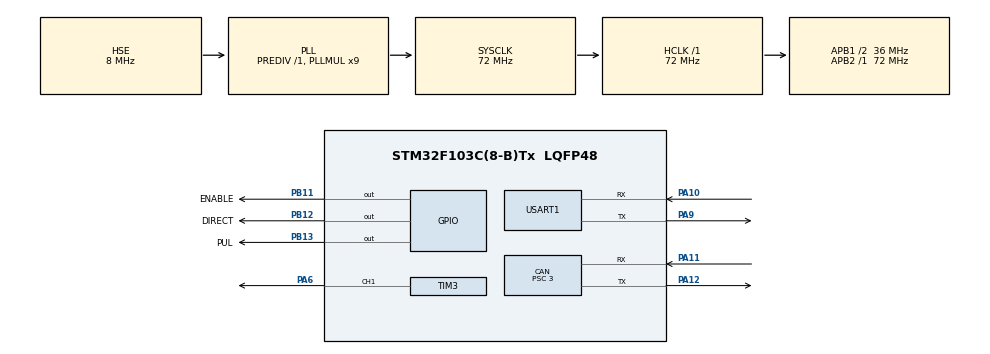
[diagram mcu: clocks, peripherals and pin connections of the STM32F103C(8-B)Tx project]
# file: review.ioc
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CAN.ABOM=ENABLE
CAN.BS1=CAN_BS1_10TQ
CAN.CalculateBaudRate=999999
CAN.CalculateTimeBit=1000
CAN.CalculateTimeQuantum=83.33333333333334
CAN.Prescaler=3
Dma.Request0=USART1_RX
Dma.Request1=USART1_TX
Dma.USART1_RX.0.Direction=DMA_PERIPH_TO_MEMORY
Dma.USART1_RX.0.Instance=DMA1_Channel5
Dma.USART1_RX.0.MemDataAlignment=DMA_MDATAALIGN_BYTE
Dma.USART1_RX.0.MemInc=DMA_MINC_ENABLE
Dma.USART1_RX.0.Mode=DMA_NORMAL
Dma.USART1_RX.0.PeriphDataAlignment=DMA_PDATAALIGN_BYTE
Dma.USART1_RX.0.PeriphInc=DMA_PINC_DISABLE
Dma.USART1_RX.0.Priority=DMA_PRIORITY_LOW
Dma.USART1_TX.1.Direction=DMA_MEMORY_TO_PERIPH
Dma.USART1_TX.1.Instance=DMA1_Channel4
Dma.USART1_TX.1.MemDataAlignment=DMA_MDATAALIGN_BYTE
Dma.USART1_TX.1.MemInc=DMA_MINC_ENABLE
Dma.USART1_TX.1.Mode=DMA_NORMAL
Dma.USART1_TX.1.PeriphDataAlignment=DMA_PDATAALIGN_BYTE
Dma.USART1_TX.1.PeriphInc=DMA_PINC_DISABLE
Dma.USART1_TX.1.Priority=DMA_PRIORITY_LOW
Mcu.Family=STM32F1
Mcu.Name=STM32F103C(8-B)Tx
Mcu.Package=LQFP48
NVIC.DMA1_Channel4_IRQn=true\:0\:0\:false\:false\:true\:false\:true\:true
NVIC.DMA1_Channel5_IRQn=true\:0\:0\:false\:false\:true\:false\:true\:true
NVIC.PriorityGroup=NVIC_PRIORITYGROUP_4
NVIC.TIM2_IRQn=true\:0\:0\:false\:false\:true\:true\:true\:true
NVIC.USART1_IRQn=true\:0\:0\:false\:false\:true\:true\:true\:true
NVIC.USB_LP_CAN1_RX0_IRQn=true\:0\:0\:false\:false\:true\:true\:true\:true
PA10.Mode=Asynchronous
PA10.Signal=USART1_RX
PA11.Mode=CAN_Activate
PA11.Signal=CAN_RX
PA12.Mode=CAN_Activate
PA12.Signal=CAN_TX
PA13.Mode=Serial_Wire
PA13.Signal=SYS_JTMS-SWDIO
PA14.Mode=Serial_Wire
PA14.Signal=SYS_JTCK-SWCLK
PA6.Signal=S_TIM3_CH1
PA9.Mode=Asynchronous
PA9.Signal=USART1_TX
PB11.GPIO_Label=ENABLE
PB11.Signal=GPIO_Output
PB12.GPIO_Label=DIRECT
PB12.Signal=GPIO_Output
PB13.GPIO_Label=PUL
PB13.Signal=GPIO_Output
PD0-OSC_IN.Mode=HSE-External-Oscillator
PD0-OSC_IN.Signal=RCC_OSC_IN
PD1-OSC_OUT.Mode=HSE-External-Oscillator
PD1-OSC_OUT.Signal=RCC_OSC_OUT
ProjectManager.HeapSize=0x200
ProjectManager.StackSize=0x400
ProjectManager.TargetToolchain=MDK-ARM V5.32
RCC.AHBFreq_Value=72000000
RCC.APB1CLKDivider=RCC_HCLK_DIV2
RCC.APB1Freq_Value=36000000
RCC.APB1TimFreq_Value=72000000
RCC.APB2Freq_Value=72000000
RCC.APB2TimFreq_Value=72000000
RCC.HCLKFreq_Value=72000000
RCC.PLLMUL=RCC_PLL_MUL9
RCC.PLLSourceVirtual=RCC_PLLSOURCE_HSE
RCC.SYSCLKFreq_VALUE=72000000
RCC.SYSCLKSource=RCC_SYSCLKSOURCE_PLLCLK
RCC.USBFreq_Value=72000000
SH.S_TIM3_CH1.0=TIM3_CH1,PWM Generation1 CH1
TIM1.Prescaler=71
TIM2.Period=20-1
TIM2.Prescaler=7200-1
TIM3.Channel-PWM\ Generation1\ CH1=TIM_CHANNEL_1
TIM3.Period=10000-1
TIM3.Prescaler=72-1
USART1.VirtualMode=VM_ASYNC
VP_TIM1_VS_ClockSourceINT.Mode=Internal
VP_TIM2_VS_ClockSourceINT.Mode=Internal
VP_TIM3_VS_ClockSourceINT.Mode=Internal
board=custom

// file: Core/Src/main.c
/* USER CODE BEGIN Header */
/**
  ******************************************************************************
  * @file           : main.c
  * @brief          : Main program body
  ******************************************************************************
  * @attention
  *
  * Copyright (c) 2025 STMicroelectronics.
  * All rights reserved.
  *
  * This software is licensed under terms that can be found in the LICENSE file
  * in the root directory of this software component.
  * If no LICENSE file comes with this software, it is provided AS-IS.
  *
  ******************************************************************************
  */
/* USER CODE END Header */
#include "main.h"
#include "can.h"
#include "dma.h"
#include "tim.h"
#include "usart.h"
#include "gpio.h"

/* USER CODE BEGIN Includes */
#include "Delay_us.h"
#include "stdlib.h"
#include "string.h"
#include "ctype.h"
#include "motor.h"
#include "math.h"
#define pi 3.14159265358979323846264
#define THRESHOLD_ANGLE_RAD (10.0/180*pi)
/* USER CODE END Includes */

/* USER CODE BEGIN PV */
uint8_t receiveData[10];
double ref;
uint8_t receive_flag = '0';
 float current_pos;
 float last_angle=0;
/* USER CODE END PV */

void SystemClock_Config(void);

/* USER CODE BEGIN 0 */
void MiAngleControlOn(int angle){
    float target_res = angle / 180.0 * pi;
    current_pos = mi_motor[0].Angle/ 180.0 * pi; // 假设这是获取当前电机角度的方法

    // 计算当前位置与目标位置的绝对误差
    float error_abs = fabs(target_res - current_pos);
    if (error_abs > THRESHOLD_ANGLE_RAD) {
        // 远离目标时：启动慢，运动平缓
			while(error_abs > THRESHOLD_ANGLE_RAD){
				motor_controlmode(&mi_motor[0], 0, target_res, 0, 3.0, 1.8); // 较低的 kp 和 kd
				error_abs = fabs(target_res - mi_motor[0].Angle/ 180.0 * pi);
				HAL_Delay(1);
			}

    }

		if(error_abs <= THRESHOLD_ANGLE_RAD){
        // 接近目标时：加快收敛，提高末端速度和定位精度
       motor_controlmode(&mi_motor[0], 0, target_res, 0, 25.0, 25.0); // 较高的 kp 和 kd
			 last_angle=target_res;
    }
}

void MiAngleControlOff(int angle){
    float target_res = angle / 180.0 * pi;
    current_pos = mi_motor[0].Angle/ 180.0 * pi; // 假设这是获取当前电机角度的方法

    // 计算当前位置与目标位置的绝对误差
    float error_abs = fabs(target_res - current_pos);
    if (error_abs > THRESHOLD_ANGLE_RAD) {
        // 远离目标时：启动慢，运动平缓
			while(error_abs > THRESHOLD_ANGLE_RAD){
				motor_controlmode(&mi_motor[0], 0, target_res, 0, 3.0, 1.8); // 较低的 kp 和 kd
				error_abs = fabs(target_res - mi_motor[0].Angle/ 180.0 * pi);
				HAL_Delay(1);
			}

    }

		if(error_abs <= THRESHOLD_ANGLE_RAD){
        // 接近目标时：加快收敛，提高末端速度和定位精度
       motor_controlmode(&mi_motor[0], 0, target_res, 0, 25.0, 25.0); // 较高的 kp 和 kd
			 last_angle=target_res;
    }
}
void bujin(int dir,double posi,int fuzai){//0下，1�?,单位：cm
	dir=(dir==0);
	HAL_GPIO_WritePin(GPIOB,DIRECT_Pin,dir);//货架箱子提手高度42-43cm；铝管架离地高度大概�?44cm，算轨道
	posi=posi/(0.628*30)*2800*4;
	if(fuzai==1){//1表示有负载，0表示无负�?
	 for(int i=0;i<posi;++i){
	   HAL_GPIO_WritePin(GPIOB,PUL_Pin,0);
	    Delay_us(30);
	    HAL_GPIO_WritePin(GPIOB,PUL_Pin,1);
	    Delay_us(30);
	  }
	}else if(fuzai==0&&dir==0){
		for(int i=0;i<posi;++i){
			HAL_GPIO_WritePin(GPIOB,PUL_Pin,0);
	    Delay_us(25);
	    HAL_GPIO_WritePin(GPIOB,PUL_Pin,1);
	    Delay_us(25);
		}
	}else if(fuzai==0&&dir==1){
		for(int i=0;i<posi;++i){
			HAL_GPIO_WritePin(GPIOB,PUL_Pin,0);
	    Delay_us(25);
	    HAL_GPIO_WritePin(GPIOB,PUL_Pin,1);
	    Delay_us(25);
		}
	}
}
void get(double posi_cm){
	__HAL_TIM_SetCompare(&htim3,TIM_CHANNEL_1,1825);//打开�?
	HAL_Delay(500);
	bujin(0,posi_cm,0);//下降
  HAL_Delay(100);
  __HAL_TIM_SetCompare(&htim3,TIM_CHANNEL_1,1225);//收爪
  HAL_Delay(500);
  bujin(1,posi_cm,1);//上升
	HAL_Delay(10);
}
void place(double down_cm){
	bujin(0,down_cm,1);
  HAL_Delay(500);
  __HAL_TIM_SetCompare(&htim3,TIM_CHANNEL_1,1825);
  HAL_Delay(800);
	bujin(1,5,0);
	__HAL_TIM_SetCompare(&htim3,TIM_CHANNEL_1,1225);
	bujin(1,down_cm-5,0);
  HAL_Delay(10);
}

/* USER CODE END 0 */

int main(void)
{

  /* MCU Configuration--------------------------------------------------------*/

  /* Reset of all peripherals, Initializes the Flash interface and the Systick. */
  HAL_Init();

  /* Configure the system clock */
  SystemClock_Config();

  /* Initialize all configured peripherals */
  MX_GPIO_Init();
  MX_DMA_Init();
  MX_TIM1_Init();
  MX_TIM2_Init();
  MX_USART1_UART_Init();
  MX_CAN_Init();
  MX_TIM3_Init();
  /* USER CODE BEGIN 2 */
		CAN_FilterTypeDef can_filter_st;
	can_filter_st.FilterActivation = ENABLE;
	can_filter_st.FilterMode = CAN_FILTERMODE_IDMASK;
	can_filter_st.FilterScale = CAN_FILTERSCALE_32BIT;
	can_filter_st.FilterIdHigh = 0x0000;
	can_filter_st.FilterIdLow = 0x0000;
	can_filter_st.FilterMaskIdHigh = 0x0000;
	can_filter_st.FilterMaskIdLow = 0x0000;
	can_filter_st.FilterBank = 0;
	can_filter_st.FilterFIFOAssignment = CAN_RX_FIFO0;
	can_filter_st.SlaveStartFilterBank = 14;
	HAL_CAN_ConfigFilter(&hcan, &can_filter_st);
	HAL_CAN_Start(&hcan);
	HAL_CAN_ActivateNotification(&hcan, CAN_IT_RX_FIFO0_MSG_PENDING);

	HAL_TIM_Base_Start_IT(&htim2);//定时中断初始�?

	HAL_Delay(500);              //�?定时间延�? 等待电机初始化完�?
	init_cybergear(&mi_motor[0], 0x7F, Motion_mode);//小米电机 启动!
  set_zeropos_cybergear(&mi_motor[0]);
HAL_GPIO_WritePin(GPIOB,ENABLE_Pin,0);
HAL_TIM_Base_Init(&htim1);
HAL_TIM_Base_Init(&htim3);
HAL_TIM_Base_Start(&htim3);
HAL_TIM_PWM_Init(&htim3);
HAL_TIM_PWM_Start(&htim3,TIM_CHANNEL_1);
HAL_UARTEx_ReceiveToIdle_DMA(&huart1,receiveData,10);
__HAL_DMA_DISABLE_IT(&hdma_usart1_rx,DMA_IT_HT);
MiAngleControlOff(0);
HAL_Delay(5);
MiAngleControlOff(0);
  /* USER CODE END 2 */

  /* Infinite loop */
  /* USER CODE BEGIN WHILE */
	/**
		* @brief          小米运控模式指令
		* @param[in]      Motor:  目标电机结构使
		* @param[in]      torque: 力矩设置[-12,12] N*M
		* @param[in]      MechPosition: 位置设置[-12.5,12.5]rad				这里12.5昿4pi的近似忼，但我发现用近似忼控制转角好像更准确？？＿
		* @param[in]      speed: 速度设置[-30,30] rad/s
		* @param[in]      kp: 比例参数设置
		* @param[in]      kd: 微分参数设置
		* @retval         none
		*/

  while (1)
  {
		if(receive_flag=='s'){
			bujin(1,45,0);//启动
			HAL_UART_Transmit(&huart1,"1\r\n",3,0xff);
			receiveData[0] = '0';
			receive_flag='0';
		}else if(receive_flag=='g'){
			get(ref);
			HAL_UART_Transmit(&huart1,"1\r\n",3,0xff);
			receiveData[0]='0';
			receive_flag='0';
		}else if(receive_flag=='p'){
			place(ref);
			HAL_UART_Transmit(&huart1,"1\r\n",3,0xff);
			receiveData[0]='0';
			receive_flag='0';
		}else if(receive_flag=='n'){
			MiAngleControlOn(ref);
			receiveData[0]='0';
			receive_flag='0';
			HAL_UART_Transmit(&huart1,"1\r\n",3,0xff);
		}else if(receive_flag=='f'){
			MiAngleControlOff(ref);
			receiveData[0]='0';
			receive_flag='0';
			HAL_UART_Transmit(&huart1,"1\r\n",3,0xff);
		}

    /* USER CODE END WHILE */

  }
}

void SystemClock_Config(void)
{
  RCC_OscInitTypeDef RCC_OscInitStruct = {0};
  RCC_ClkInitTypeDef RCC_ClkInitStruct = {0};

  /** Initializes the RCC Oscillators according to the specified parameters
  * in the RCC_OscInitTypeDef structure.
  */
  RCC_OscInitStruct.OscillatorType = RCC_OSCILLATORTYPE_HSE;
  RCC_OscInitStruct.HSEState = RCC_HSE_ON;
  RCC_OscInitStruct.HSEPredivValue = RCC_HSE_PREDIV_DIV1;
  RCC_OscInitStruct.HSIState = RCC_HSI_ON;
  RCC_OscInitStruct.PLL.PLLState = RCC_PLL_ON;
  RCC_OscInitStruct.PLL.PLLSource = RCC_PLLSOURCE_HSE;
  RCC_OscInitStruct.PLL.PLLMUL = RCC_PLL_MUL9;
  if (HAL_RCC_OscConfig(&RCC_OscInitStruct) != HAL_OK)
  {
    Error_Handler();
  }

  /** Initializes the CPU, AHB and APB buses clocks
  */
  RCC_ClkInitStruct.ClockType = RCC_CLOCKTYPE_HCLK|RCC_CLOCKTYPE_SYSCLK
                              |RCC_CLOCKTYPE_PCLK1|RCC_CLOCKTYPE_PCLK2;
  RCC_ClkInitStruct.SYSCLKSource = RCC_SYSCLKSOURCE_PLLCLK;
  RCC_ClkInitStruct.AHBCLKDivider = RCC_SYSCLK_DIV1;
  RCC_ClkInitStruct.APB1CLKDivider = RCC_HCLK_DIV2;
  RCC_ClkInitStruct.APB2CLKDivider = RCC_HCLK_DIV1;

  if (HAL_RCC_ClockConfig(&RCC_ClkInitStruct, FLASH_LATENCY_2) != HAL_OK)
  {
    Error_Handler();
  }
}

/* USER CODE BEGIN 4 */
void HAL_UARTEx_RxEventCallback(UART_HandleTypeDef* huart,uint16_t Size){
	if(huart==&huart1){//第一位设为标志位
		receive_flag = receiveData[0];
		ref=atof(&receiveData[1]);
		HAL_UARTEx_ReceiveToIdle_DMA(&huart1,receiveData,10);
		__HAL_DMA_DISABLE_IT(&hdma_usart1_rx,DMA_IT_HT);
	}
}
/* USER CODE END 4 */

void Error_Handler(void)
{
  __disable_irq();
  while (1)
  {
  }
}
